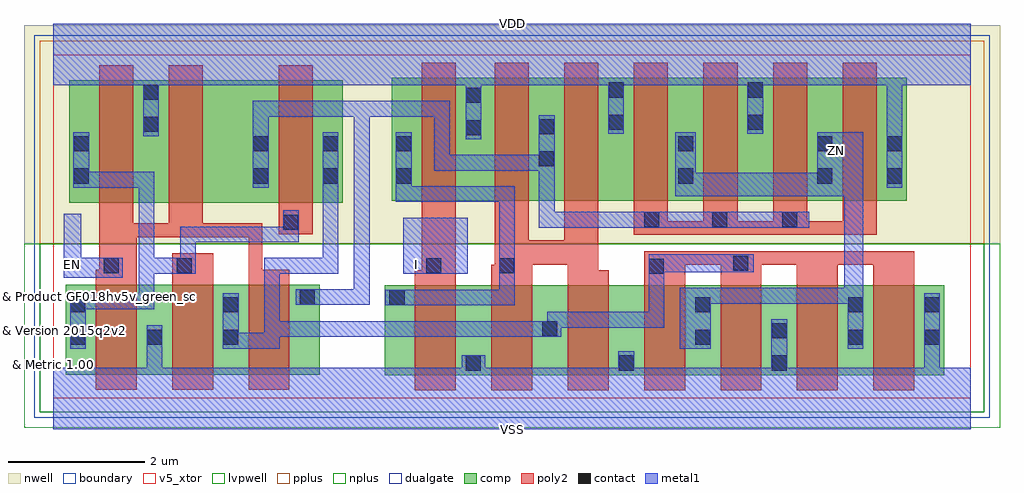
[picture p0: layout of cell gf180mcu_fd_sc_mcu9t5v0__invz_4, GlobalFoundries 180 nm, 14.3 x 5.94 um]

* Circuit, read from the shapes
.subckt gf180mcu_fd_sc_mcu9t5v0__invz_4 EN I VDD VSS ZN
XM1 VSS EN n1 VSUBS nfet_05v0 w=1.32u l=0.6u
XM2 n2 n1 VSS VSUBS nfet_05v0 w=1.32u l=0.6u
XM3 n3 EN n2 VSUBS nfet_05v0 w=1.32u l=0.6u
XM4 VSS I n4 VSUBS nfet_05v0 w=1.32u l=0.6u
XM5 n2 n4 VSS VSUBS nfet_05v0 w=1.32u l=0.6u m=2
XM6 ZN n2 VSS VSUBS nfet_05v0 w=1.32u l=0.6u m=4
XM7 VDD EN n1 n5 pfet_05v0 w=1.8u l=0.5u
XM8 n3 EN VDD n5 pfet_05v0 w=1.8u l=0.5u
XM9 n2 n1 n3 n5 pfet_05v0 w=1.8u l=0.5u
XM10 VDD I n4 n5 pfet_05v0 w=1.8u l=0.5u
XM11 n3 n4 VDD n5 pfet_05v0 w=1.8u l=0.5u m=2
XM12 ZN n3 VDD n5 pfet_05v0 w=1.8u l=0.5u m=4
.ends

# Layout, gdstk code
import gdstk
lib = gdstk.Library(unit=1e-6, precision=1e-09)
def R(c, l, rs):  # rectangles x0, y0, x1, y1
    for r in rs: c.add(gdstk.rectangle(r[:2], r[2:], *l))
def A(c, l, x, y, w, h, nx, ny, dx, dy):  # array of equal rectangles
    R(c, l, [(x+i*dx, y+j*dy, x+i*dx+w, y+j*dy+h) for i in range(nx) for j in range(ny)])
def P(c, l, *ps):  # polygons
    for p in ps: c.add(gdstk.Polygon(p, *l))
boundary = (0, 0)
nwell = (21, 0)
comp = (22, 0)
poly2 = (30, 0)
pplus = (31, 0)
nplus = (32, 0)
contact = (33, 0)
metal1 = (34, 0)
dualgate = (55, 0)
v5_xtor = (112, 1)
lvpwell = (204, 0)

gf180mcu_fd_sc_mcu9t5v0_ = lib.new_cell('gf180mcu_fd_sc_mcu9t5v0__invz_4')
R(gf180mcu_fd_sc_mcu9t5v0_, boundary, [(0,0,13.44,5.04)])
R(gf180mcu_fd_sc_mcu9t5v0_, nwell, [(-0.43,2.265,13.87,5.47)])
R(gf180mcu_fd_sc_mcu9t5v0_, comp, [(4.855,0.34,13.055,1.66), (0.18,0.345,3.9,1.665), (0.23,2.865,4.24,4.665), (4.955,2.9,12.505,4.7)])
R(gf180mcu_fd_sc_mcu9t5v0_, poly2, [(1.74,0.125,2.34,2.125), (3.3,2.405,3.8,4.885)])
P(gf180mcu_fd_sc_mcu9t5v0_, poly2, [(0.62,0.125),(0.62,1.885),(0.67,1.885),(0.67,4.885),(1.17,4.885),(1.17,2.565),(1.69,2.565),(1.69,4.885),(2.19,4.885),(2.19,2.565),(3.06,2.565),(3.06,1.885),(3.46,1.885),(3.46,0.125),(2.86,0.125),(2.86,2.365),(1.22,2.365),(1.22,0.125)],
  [(5.295,0.12),(5.295,1.88),(5.395,1.88),(5.395,4.92),(5.895,4.92),(5.895,0.12)],
  [(6.415,0.12),(6.415,1.96),(6.465,1.96),(6.465,4.92),(6.965,4.92),(6.965,2.315),(7.485,2.315),(7.485,4.92),(7.985,4.92),(7.985,1.88),(8.135,1.88),(8.135,0.12),(7.535,0.12),(7.535,1.96),(7.015,1.96),(7.015,0.12)],
  [(8.505,2.4),(8.505,4.92),(9.005,4.92),(9.005,2.6),(9.525,2.6),(9.525,4.92),(10.025,4.92),(10.025,2.6),(10.545,2.6),(10.545,4.92),(11.045,4.92),(11.045,2.6),(11.565,2.6),(11.565,4.92),(12.065,4.92),(12.065,2.4)],
  [(8.655,0.12),(8.655,2.16),(12.615,2.16),(12.615,0.12),(12.015,0.12),(12.015,1.96),(11.495,1.96),(11.495,0.12),(10.895,0.12),(10.895,1.96),(10.375,1.96),(10.375,0.12),(9.775,0.12),(9.775,1.96),(9.255,1.96),(9.255,0.12)])
R(gf180mcu_fd_sc_mcu9t5v0_, pplus, [(-0.2,2.265,13.64,5.24)])
R(gf180mcu_fd_sc_mcu9t5v0_, nplus, [(-0.2,-0.2,13.64,2.265)])
A(gf180mcu_fd_sc_mcu9t5v0_, contact, 6.045, 0.41, 0.22, 0.22, 3, 1, 2.24, 0)
A(gf180mcu_fd_sc_mcu9t5v0_, contact, 0.25, 0.79, 0.22, 0.22, 3, 1, 1.12, 0)
R(gf180mcu_fd_sc_mcu9t5v0_, contact, [(9.405,0.79,9.625,1.01), (11.645,0.79,11.865,1.01), (12.765,0.79,12.985,1.01), (10.525,0.88,10.745,1.1), (7.165,0.91,7.385,1.13), (0.25,1.26,0.47,1.48), (2.49,1.26,2.71,1.48), (9.405,1.26,9.625,1.48), (11.645,1.26,11.865,1.48), (12.765,1.26,12.985,1.48), (4.925,1.37,5.145,1.59), (3.61,1.375,3.83,1.595), (8.725,1.83,8.945,2.05), (0.74,1.835,0.96,2.055), (1.81,1.835,2.03,2.055), (5.465,1.835,5.685,2.055), (6.535,1.835,6.755,2.055), (9.96,1.87,10.18,2.09), (3.37,2.475,3.59,2.695), (8.66,2.51,8.88,2.73), (9.655,2.51,9.875,2.73), (10.68,2.51,10.9,2.73), (0.3,3.15,0.52,3.37), (2.93,3.15,3.15,3.37), (3.95,3.15,4.17,3.37), (5.025,3.15,5.245,3.37), (9.155,3.15,9.375,3.37), (11.195,3.15,11.415,3.37), (12.215,3.15,12.435,3.37), (7.115,3.4,7.335,3.62), (0.3,3.62,0.52,3.84), (2.93,3.62,3.15,3.84), (3.95,3.62,4.17,3.84), (5.025,3.62,5.245,3.84), (9.155,3.62,9.375,3.84), (11.195,3.62,11.415,3.84), (12.215,3.62,12.435,3.84), (6.045,3.86,6.265,4.08), (7.115,3.87,7.335,4.09), (1.32,3.905,1.54,4.125), (8.135,3.94,8.355,4.16), (10.175,3.94,10.395,4.16), (6.045,4.33,6.265,4.55), (1.32,4.375,1.54,4.595), (8.135,4.41,8.355,4.63), (10.175,4.41,10.395,4.63)])
R(gf180mcu_fd_sc_mcu9t5v0_, metal1, [(5.13,1.83,6.07,2.65)])
P(gf180mcu_fd_sc_mcu9t5v0_, metal1, [(0.15,1.77),(0.15,2.71),(0.41,2.71),(0.41,2.06),(1.02,2.06),(1.02,1.77)],
  [(0.245,0.73),(0.245,1.54),(1.25,1.54),(1.25,3.09),(0.295,3.09),(0.295,3.9),(0.525,3.9),(0.525,3.32),(1.48,3.32),(1.48,2.06),(1.86,2.06),(1.86,2.52),(3.365,2.52),(3.365,2.755),(3.595,2.755),(3.595,2.29),(2.09,2.29),(2.09,1.83),(1.48,1.83),(1.48,1.31),(0.475,1.31),(0.475,0.73)],
  [(4.865,1.365),(4.865,1.595),(6.53,1.595),(6.53,2.88),(5.02,2.88),(5.02,3.9),(5.25,3.9),(5.25,3.11),(6.76,3.11),(6.76,1.365)],
  [(2.485,0.73),(2.485,1.54),(2.715,1.54),(2.715,0.96),(3.09,0.96),(3.09,2.06),(3.945,2.06),(3.945,3.9),(4.175,3.9),(4.175,1.83),(3.32,1.83),(3.32,1.135),(7.235,1.135),(7.235,1.27),(8.72,1.27),(8.72,2.11),(10.265,2.11),(10.265,1.85),(8.95,1.85),(8.95,1.04),(7.445,1.04),(7.445,0.905),(3.315,0.905),(3.315,0.73)],
  [(3.55,1.37),(3.55,1.6),(4.405,1.6),(4.405,4.13),(3.155,4.13),(3.155,3.09),(2.925,3.09),(2.925,4.36),(5.81,4.36),(5.81,3.57),(7.11,3.57),(7.11,4.15),(7.345,4.15),(7.345,2.735),(11.075,2.735),(11.075,2.505),(7.115,2.505),(7.115,3.34),(5.58,3.34),(5.58,4.13),(4.635,4.13),(4.635,1.37)],
  [(9.18,0.73),(9.18,1.62),(11.585,1.62),(11.585,2.965),(9.11,2.965),(9.11,3.9),(9.41,3.9),(9.41,3.31),(11.19,3.31),(11.19,3.9),(11.87,3.9),(11.87,0.73),(11.64,0.73),(11.64,1.39),(9.63,1.39),(9.63,0.73)],
  [(0,-0.45),(0,0.45),(1.365,0.45),(1.365,1.07),(1.595,1.07),(1.595,0.45),(5.985,0.45),(5.985,0.635),(6.325,0.635),(6.325,0.45),(8.28,0.45),(8.28,0.69),(8.51,0.69),(8.51,0.45),(10.52,0.45),(10.52,1.16),(10.75,1.16),(10.75,0.45),(12.76,0.45),(12.76,1.54),(12.99,1.54),(12.99,0.45),(13.44,0.45),(13.44,-0.45)],
  [(12.21,3.09),(12.21,4.59),(10.4,4.59),(10.4,3.88),(10.17,3.88),(10.17,4.59),(8.36,4.59),(8.36,3.88),(8.13,3.88),(8.13,4.59),(6.27,4.59),(6.27,3.8),(6.04,3.8),(6.04,4.59),(1.545,4.59),(1.545,3.845),(1.315,3.845),(1.315,4.59),(0,4.59),(0,5.49),(13.44,5.49),(13.44,4.59),(12.44,4.59),(12.44,3.09)])
R(gf180mcu_fd_sc_mcu9t5v0_, dualgate, [(-0.28,-0.28,13.72,5.32)])
R(gf180mcu_fd_sc_mcu9t5v0_, v5_xtor, [(0,0,13.44,5.04)])
R(gf180mcu_fd_sc_mcu9t5v0_, lvpwell, [(-0.43,-0.43,13.87,2.265)])
gf180mcu_fd_sc_mcu9t5v0_.add(gdstk.Label('EN', (0.28,1.96), layer=34, texttype=10))
gf180mcu_fd_sc_mcu9t5v0_.add(gdstk.Label('I', (5.32,1.96), layer=34, texttype=10))
gf180mcu_fd_sc_mcu9t5v0_.add(gdstk.Label('VDD', (6.72,5.49), layer=34, texttype=10))
gf180mcu_fd_sc_mcu9t5v0_.add(gdstk.Label('VSS', (6.72,-0.45), layer=34, texttype=10))
gf180mcu_fd_sc_mcu9t5v0_.add(gdstk.Label('ZN', (11.48,3.64), layer=34, texttype=10))
gf180mcu_fd_sc_mcu9t5v0_.add(gdstk.Label('& Vendor GLOBALFOUNDRIES', (0,2), layer=63, texttype=63))
gf180mcu_fd_sc_mcu9t5v0_.add(gdstk.Label('& Product GF018hv5v_green_sc9', (0,1.5), layer=63, texttype=63))
gf180mcu_fd_sc_mcu9t5v0_.add(gdstk.Label('& Version 2015q2v2', (0,1), layer=63, texttype=63))
gf180mcu_fd_sc_mcu9t5v0_.add(gdstk.Label('& Metric 1.00', (0,0.5), layer=63, texttype=63))

lib.write_gds('gf180mcu_fd_sc_mcu9t5v0__invz_4.gds')
